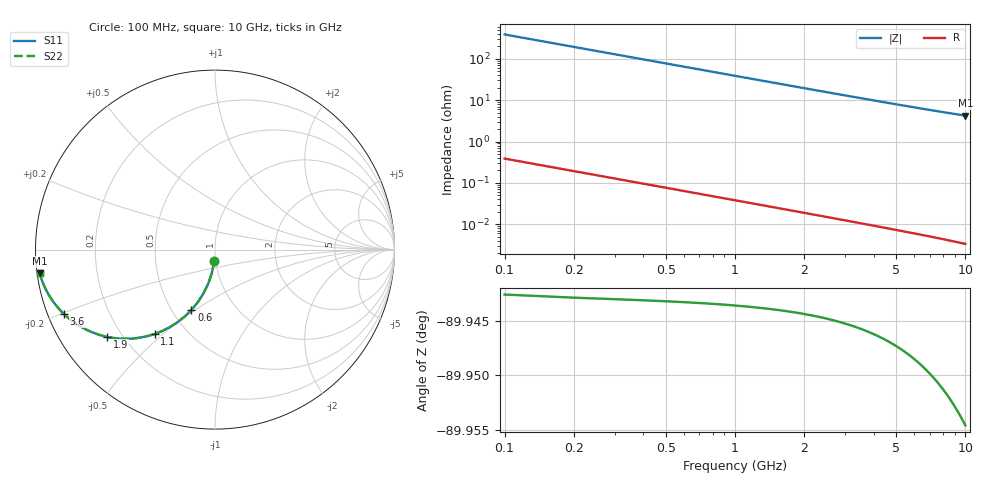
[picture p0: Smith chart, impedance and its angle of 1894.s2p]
# Hz S RI R 50.00
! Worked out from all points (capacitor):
!   100 points, 100 MHz to 10 GHz, reference 50 ohm
!   read as one part in shunt: C = 4.12 pF near 100 MHz
!   lowest |Z| = 4.23 ohm at 10 GHz (marker M1)
!   S11 on the Smith chart (normalised r, x): 100 MHz: 0.98, -0.13; 600 MHz: 0.62, -0.48; 1.1 GHz: 0.33, -0.47; 1.9 GHz: 0.14, -0.35; 3.6 GHz: 0.05, -0.20; 10 GHz: 0.01, -0.07
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1e8  -0.00421 -0.0643  0.9957 -0.0646  0.9957 -0.0646  -0.00421 -0.0643
2e8  -0.0166 -0.1269  0.9834 -0.1275  0.9834 -0.1275  -0.0166 -0.1269
3e8  -0.0364 -0.1865  0.9635 -0.1874  0.9635 -0.1874  -0.0364 -0.1865
4e8  -0.0629 -0.2417  0.937 -0.243  0.937 -0.243  -0.0629 -0.2417
5e8  -0.0949 -0.2918  0.9051 -0.2934  0.9051 -0.2934  -0.0949 -0.2918
6e8  -0.131 -0.336  0.8689 -0.3379  0.8689 -0.3379  -0.131 -0.336
8e8  -0.2112 -0.4064  0.7887 -0.4089  0.7887 -0.4089  -0.2112 -0.4064
9e8  -0.253 -0.4328  0.7469 -0.4357  0.7469 -0.4357  -0.253 -0.4328
1.1e9  -0.3357 -0.47  0.6642 -0.4735  0.6642 -0.4735  -0.3357 -0.47
1.4e9  -0.4498 -0.4947  0.5501 -0.4992  0.5501 -0.4992  -0.4498 -0.4947
1.8e9  -0.5743 -0.4911  0.4256 -0.4968  0.4256 -0.4968  -0.5743 -0.4911
1.9e9  -0.6004 -0.4863  0.3995 -0.4923  0.3995 -0.4923  -0.6004 -0.4863
2.2e9  -0.6681 -0.4669  0.3319 -0.4739  0.3319 -0.4739  -0.6681 -0.4669
2.6e9  -0.7374 -0.4353  0.2625 -0.4437  0.2625 -0.4437  -0.7374 -0.4353
3e9  -0.7888 -0.4028  0.2111 -0.4125  0.2111 -0.4125  -0.7888 -0.4028
3.4e9  -0.8274 -0.3718  0.1725 -0.3829  0.1725 -0.3829  -0.8274 -0.3718
3.6e9  -0.8431 -0.3573  0.1568 -0.369  0.1568 -0.369  -0.8431 -0.3573
4.3e9  -0.8846 -0.3119  0.1152 -0.3259  0.1152 -0.3259  -0.8846 -0.3119
5.1e9  -0.9152 -0.2695  0.0846 -0.2863  0.0846 -0.2863  -0.9152 -0.2695
6.7e9  -0.9493 -0.2074  0.0504 -0.2298  0.0504 -0.2298  -0.9493 -0.2074
8.4e9  -0.9674 -0.1621  0.0321 -0.1908  0.0321 -0.1908  -0.9674 -0.1621
1e10  -0.977 -0.131  0.0224 -0.1657  0.0224 -0.1657  -0.977 -0.131
